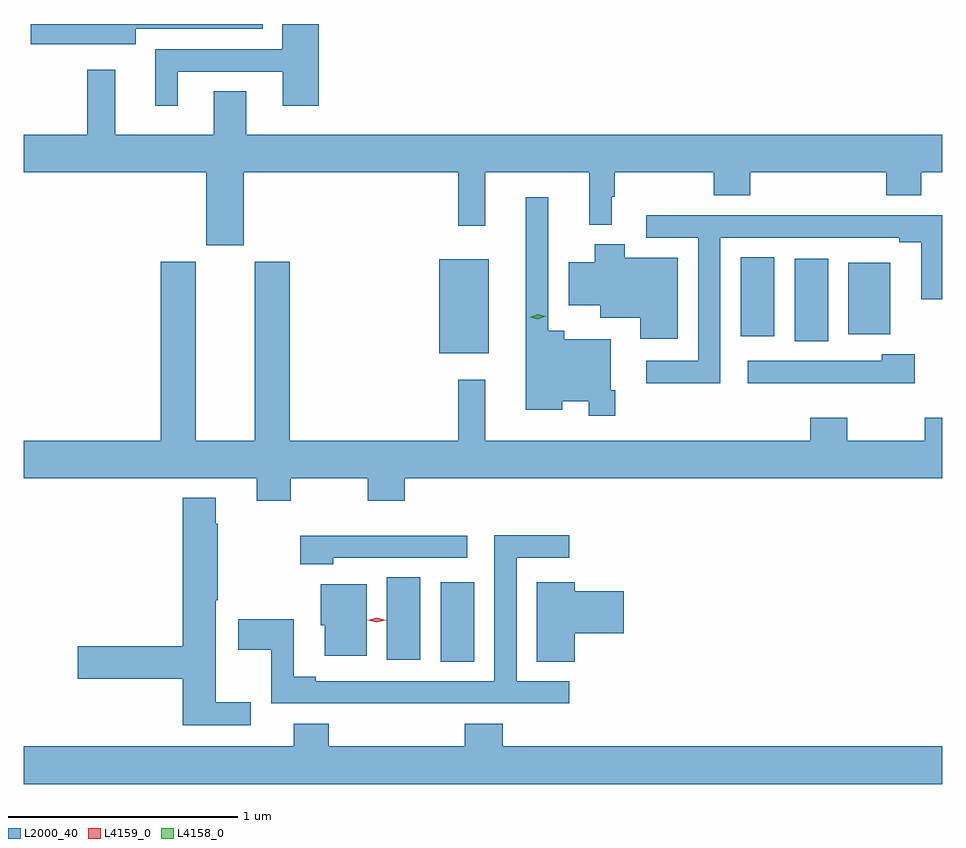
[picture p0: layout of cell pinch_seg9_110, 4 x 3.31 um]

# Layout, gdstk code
import gdstk
lib = gdstk.Library(unit=1e-6, precision=1e-09)
def R(c, l, rs):  # rectangles x0, y0, x1, y1
    for r in rs: c.add(gdstk.rectangle(r[:2], r[2:], *l))
def P(c, l, *ps):  # polygons
    for p in ps: c.add(gdstk.Polygon(p, *l))
L2000_40 = (2000, 40)
L4158_0 = (4158, 0)
L4159_0 = (4159, 0)

pinch_seg9_110 = lib.new_cell('pinch_seg9_110')
R(pinch_seg9_110, L2000_40, [(1047.812,1179.637,1047.958,1179.982), (1047.578,1179.645,1047.724,1180.004), (1047.806,1180.979,1048.021,1181.389), (1049.354,1181.032,1049.5,1181.392), (1049.12,1181.055,1049.266,1181.399), (1049.588,1181.063,1049.77,1181.374)])
P(pinch_seg9_110, L2000_40, [(1046.668,1182.207),(1047.125,1182.207),(1047.125,1182.057),(1047.281,1182.057),(1047.281,1182.414),(1047.122,1182.414),(1047.122,1182.303),(1046.57,1182.303),(1046.57,1182.057),(1046.668,1182.057)],
  [(1046.485,1182.393),(1047.037,1182.393),(1047.037,1182.414),(1046.028,1182.414),(1046.028,1182.325),(1046.485,1182.325)],
  [(1046.956,1181.768),(1047.889,1181.768),(1047.889,1181.535),(1048.007,1181.535),(1048.007,1181.768),(1048.46,1181.768),(1048.46,1181.54),(1048.558,1181.54),(1048.558,1181.661),(1048.57,1181.661),(1048.57,1181.768),(1049.002,1181.768),(1049.002,1181.669),(1049.162,1181.669),(1049.162,1181.768),(1049.753,1181.768),(1049.753,1181.669),(1049.905,1181.669),(1049.905,1181.768),(1049.997,1181.768),(1049.997,1181.932),(1046.965,1181.932),(1046.965,1182.122),(1046.825,1182.122),(1046.825,1181.932),(1046.395,1181.932),(1046.395,1182.214),(1046.274,1182.214),(1046.274,1181.932),(1045.997,1181.932),(1045.997,1181.768),(1046.792,1181.768),(1046.792,1181.451),(1046.956,1181.451)],
  [(1048.574,1180.819),(1048.554,1180.819),(1048.554,1181.041),(1048.35,1181.041),(1048.35,1181.077),(1048.281,1181.077),(1048.281,1181.659),(1048.184,1181.659),(1048.184,1180.733),(1048.342,1180.733),(1048.342,1180.772),(1048.458,1180.772),(1048.458,1180.707),(1048.574,1180.707)],
  [(1049.031,1181.484),(1049.81,1181.484),(1049.81,1181.464),(1049.906,1181.464),(1049.906,1181.216),(1049.997,1181.216),(1049.997,1181.58),(1049.669,1181.58),(1049.669,1181.582),(1049.245,1181.582),(1049.245,1181.58),(1048.928,1181.58),(1048.928,1181.582),(1048.707,1181.582),(1048.707,1181.484),(1048.935,1181.484),(1048.935,1180.947),(1048.707,1180.947),(1048.707,1180.849),(1049.031,1180.849)],
  [(1048.846,1181.395),(1048.614,1181.395),(1048.614,1181.455),(1048.484,1181.455),(1048.484,1181.377),(1048.37,1181.377),(1048.37,1181.189),(1048.508,1181.189),(1048.508,1181.135),(1048.682,1181.135),(1048.682,1181.043),(1048.846,1181.043)],
  [(1047.159,1180.436),(1047.496,1180.436),(1047.496,1180.337),(1047.656,1180.337),(1047.656,1180.436),(1049.997,1180.436),(1049.997,1180.699),(1049.92,1180.699),(1049.92,1180.6),(1049.583,1180.6),(1049.583,1180.699),(1049.423,1180.699),(1049.423,1180.6),(1048.006,1180.6),(1048.006,1180.864),(1047.889,1180.864),(1047.889,1180.6),(1047.155,1180.6),(1047.155,1181.379),(1047.002,1181.379),(1047.002,1180.6),(1046.746,1180.6),(1046.746,1181.379),(1046.594,1181.379),(1046.594,1180.6),(1045.997,1180.6),(1045.997,1180.436),(1047.011,1180.436),(1047.011,1180.337),(1047.159,1180.337)],
  [(1049.878,1180.975),(1049.733,1180.975),(1049.733,1180.947),(1049.151,1180.947),(1049.151,1180.85),(1049.878,1180.85)],
  [(1046.986,1179.459),(1046.833,1179.459),(1046.833,1179.904),(1046.841,1179.904),(1046.841,1180.238),(1046.833,1180.238),(1046.833,1180.351),(1046.69,1180.351),(1046.69,1179.704),(1046.232,1179.704),(1046.232,1179.562),(1046.69,1179.562),(1046.69,1179.36),(1046.986,1179.36)],
  [(1047.833,1179.456),(1048.15,1179.456),(1048.15,1179.455),(1048.372,1179.455),(1048.372,1179.552),(1048.143,1179.552),(1048.143,1180.089),(1048.372,1180.089),(1048.372,1180.188),(1048.047,1180.188),(1048.047,1179.552),(1047.268,1179.552),(1047.268,1179.572),(1047.172,1179.572),(1047.172,1179.821),(1046.93,1179.821),(1046.93,1179.689),(1047.075,1179.689),(1047.075,1179.456),(1047.409,1179.456),(1047.409,1179.455),(1047.833,1179.455)],
  [(1047.345,1180.089),(1047.928,1180.089),(1047.928,1180.186),(1047.201,1180.186),(1047.201,1180.061),(1047.345,1180.061)],
  [(1048.397,1179.761),(1048.609,1179.761),(1048.609,1179.944),(1048.397,1179.944),(1048.397,1179.982),(1048.232,1179.982),(1048.232,1179.637),(1048.397,1179.637)],
  [(1047.49,1179.973),(1047.29,1179.973),(1047.29,1179.795),(1047.308,1179.795),(1047.308,1179.662),(1047.49,1179.662)],
  [(1049.997,1179.268),(1048.082,1179.268),(1048.082,1179.367),(1047.917,1179.367),(1047.917,1179.268),(1047.326,1179.268),(1047.326,1179.367),(1047.173,1179.367),(1047.173,1179.268),(1045.997,1179.268),(1045.997,1179.104),(1049.997,1179.104)])
P(pinch_seg9_110, L4158_0, [(1048.236,1181.129),(1048.2,1181.136),(1048.2,1181.137),(1048.2,1181.137),(1048.235,1181.149),(1048.271,1181.142),(1048.271,1181.141),(1048.271,1181.141)])
P(pinch_seg9_110, L4159_0, [(1047.534,1179.808),(1047.494,1179.818),(1047.494,1179.818),(1047.494,1179.818),(1047.534,1179.828),(1047.574,1179.818),(1047.575,1179.818),(1047.574,1179.818)])

lib.write_gds('pinch_seg9_110.gds')
